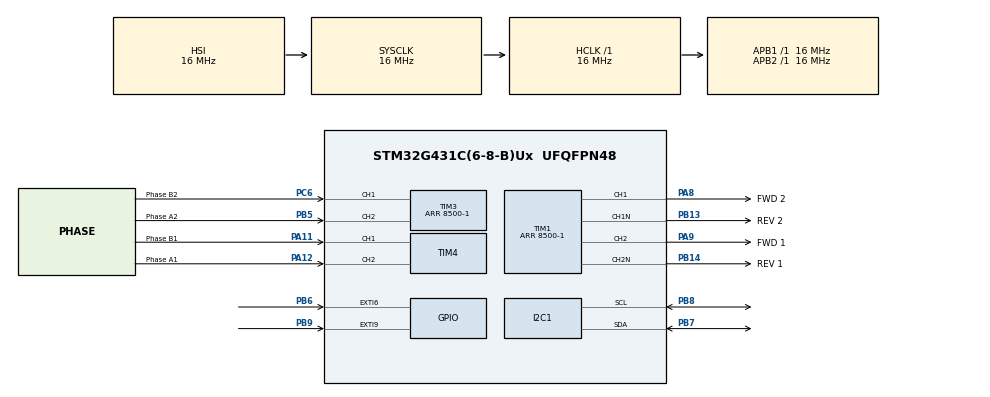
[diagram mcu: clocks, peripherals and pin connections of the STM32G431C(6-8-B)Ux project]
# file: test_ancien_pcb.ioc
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I2C1.Timing=0x00503D58
Mcu.Family=STM32G4
Mcu.Name=STM32G431C(6-8-B)Ux
Mcu.Package=UFQFPN48
NVIC.PriorityGroup=NVIC_PRIORITYGROUP_4
PA11.GPIO_Label=Phase B1
PA11.Signal=S_TIM4_CH1
PA12.GPIO_Label=Phase A1
PA12.Signal=S_TIM4_CH2
PA8.GPIO_Label=FWD 2
PA8.Signal=S_TIM1_CH1
PA9.GPIO_Label=FWD 1
PA9.Signal=S_TIM1_CH2
PB13.GPIO_Label=REV 2
PB13.Mode=PWM Generation1 CH1 CH1N
PB13.Signal=TIM1_CH1N
PB14.GPIO_Label=REV 1
PB14.Mode=PWM Generation2 CH2 CH2N
PB14.Signal=TIM1_CH2N
PB5.GPIO_Label=Phase A2
PB5.Signal=S_TIM3_CH2
PB6.Signal=GPXTI6
PB7.Mode=I2C
PB7.Signal=I2C1_SDA
PB8-BOOT0.Mode=I2C
PB8-BOOT0.Signal=I2C1_SCL
PB9.Signal=GPXTI9
PC6.GPIO_Label=Phase B2
PC6.Signal=S_TIM3_CH1
ProjectManager.HeapSize=0x200
ProjectManager.StackSize=0x400
ProjectManager.TargetToolchain=STM32CubeIDE
RCC.AHBFreq_Value=16000000
RCC.APB1Freq_Value=16000000
RCC.APB1TimFreq_Value=16000000
RCC.APB2Freq_Value=16000000
RCC.APB2TimFreq_Value=16000000
RCC.CortexFreq_Value=16000000
RCC.EXTERNAL_CLOCK_VALUE=12288000
RCC.HCLKFreq_Value=16000000
RCC.HSE_VALUE=8000000
RCC.HSI48_VALUE=48000000
RCC.HSI_VALUE=16000000
RCC.LSE_VALUE=32768
RCC.SYSCLKFreq_VALUE=16000000
RCC.USBFreq_Value=64000000
RCC.VCOOutputFreq_Value=128000000
SH.S_TIM1_CH1.0=TIM1_CH1,PWM Generation1 CH1 CH1N
SH.S_TIM1_CH2.0=TIM1_CH2,PWM Generation2 CH2 CH2N
SH.S_TIM3_CH1.0=TIM3_CH1,Encoder_Interface
SH.S_TIM3_CH2.0=TIM3_CH2,Encoder_Interface
SH.S_TIM4_CH1.0=TIM4_CH1,Encoder_Interface
SH.S_TIM4_CH2.0=TIM4_CH2,Encoder_Interface
TIM1.Channel-PWM\ Generation1\ CH1\ CH1N=TIM_CHANNEL_1
TIM1.Channel-PWM\ Generation2\ CH2\ CH2N=TIM_CHANNEL_2
TIM1.PeriodNoDither=8500-1
TIM3.PeriodNoDither=8500-1
VP_SYS_VS_DBSignals.Mode=DisableDeadBatterySignals
VP_TIM1_VS_ClockSourceINT.Mode=Internal
board=custom

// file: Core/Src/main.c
/* USER CODE BEGIN Header */
/**
 ******************************************************************************
 * @file           : main.c
 * @brief          : Main program body
 ******************************************************************************
 * @attention
 *
 * Copyright (c) 2025 STMicroelectronics.
 * All rights reserved.
 *
 * This software is licensed under terms that can be found in the LICENSE file
 * in the root directory of this software component.
 * If no LICENSE file comes with this software, it is provided AS-IS.
 *
 ******************************************************************************
 */
/* USER CODE END Header */
#include "main.h"
#include "i2c.h"
#include "tim.h"
#include "gpio.h"

/* USER CODE BEGIN Includes */
#include "ControlMotors.h"
/* USER CODE END Includes */

/* USER CODE BEGIN PV */
Motor_HandleTypeDef right_motor;
Motor_HandleTypeDef left_motor;
Robot_struct robot;
/* USER CODE END PV */

void SystemClock_Config(void);

int main(void)
{

  /* MCU Configuration--------------------------------------------------------*/

  /* Reset of all peripherals, Initializes the Flash interface and the Systick. */
  HAL_Init();

  /* Configure the system clock */
  SystemClock_Config();

  /* Initialize all configured peripherals */
  MX_GPIO_Init();
  MX_TIM4_Init();
  MX_TIM1_Init();
  MX_TIM3_Init();
  MX_I2C1_Init();
  /* USER CODE BEGIN 2 */
	Motor_Init(&left_motor, &htim1, TIM_CHANNEL_1);
	Motor_Init(&right_motor, &htim1, TIM_CHANNEL_2);
	Robot_Init(&robot, &right_motor, &left_motor);

	HAL_TIM_PWM_Start(&htim1, TIM_CHANNEL_1);
	HAL_TIM_PWM_Start(&htim1, TIM_CHANNEL_2);
	HAL_TIMEx_PWMN_Start(&htim1, TIM_CHANNEL_1);
	HAL_TIMEx_PWMN_Start(&htim1, TIM_CHANNEL_2);

	__HAL_TIM_MOE_ENABLE(&htim1);

	Motor_SetSpeed(&right_motor, 60);
	Motor_SetSpeed(&left_motor, 60);
	HAL_Delay(3000);
	Motor_SetSpeed(&right_motor, 0);
	Motor_SetSpeed(&left_motor, 0);

	//Motor_Forward(&left_motor);

  /* USER CODE END 2 */

  /* Infinite loop */
	while (1)
	{

	}
}

void SystemClock_Config(void)
{
  RCC_OscInitTypeDef RCC_OscInitStruct = {0};
  RCC_ClkInitTypeDef RCC_ClkInitStruct = {0};

  /** Configure the main internal regulator output voltage
  */
  HAL_PWREx_ControlVoltageScaling(PWR_REGULATOR_VOLTAGE_SCALE1);

  /** Initializes the RCC Oscillators according to the specified parameters
  * in the RCC_OscInitTypeDef structure.
  */
  RCC_OscInitStruct.OscillatorType = RCC_OSCILLATORTYPE_HSI;
  RCC_OscInitStruct.HSIState = RCC_HSI_ON;
  RCC_OscInitStruct.HSICalibrationValue = RCC_HSICALIBRATION_DEFAULT;
  RCC_OscInitStruct.PLL.PLLState = RCC_PLL_NONE;
  if (HAL_RCC_OscConfig(&RCC_OscInitStruct) != HAL_OK)
  {
    Error_Handler();
  }

  /** Initializes the CPU, AHB and APB buses clocks
  */
  RCC_ClkInitStruct.ClockType = RCC_CLOCKTYPE_HCLK|RCC_CLOCKTYPE_SYSCLK
                              |RCC_CLOCKTYPE_PCLK1|RCC_CLOCKTYPE_PCLK2;
  RCC_ClkInitStruct.SYSCLKSource = RCC_SYSCLKSOURCE_HSI;
  RCC_ClkInitStruct.AHBCLKDivider = RCC_SYSCLK_DIV1;
  RCC_ClkInitStruct.APB1CLKDivider = RCC_HCLK_DIV1;
  RCC_ClkInitStruct.APB2CLKDivider = RCC_HCLK_DIV1;

  if (HAL_RCC_ClockConfig(&RCC_ClkInitStruct, FLASH_LATENCY_0) != HAL_OK)
  {
    Error_Handler();
  }
}

void Error_Handler(void)
{
	__disable_irq();
	while (1)
	{
	}
}
